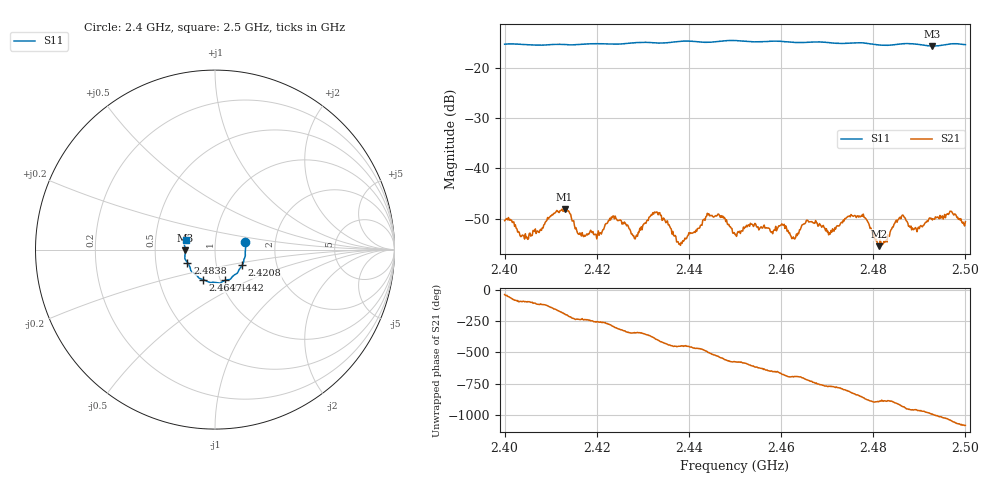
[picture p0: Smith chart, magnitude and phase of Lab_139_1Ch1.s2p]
# Hz S RI R 50
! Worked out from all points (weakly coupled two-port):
!   601 points, 2.4 GHz to 2.5 GHz, reference 50 ohm
!   highest |S21| = -48.08 dB at 2.413 GHz (marker M1); lowest = -55.5 dB at 2.4813 GHz (marker M2)
!   lowest |S11| = -15.6 dB at 2.4928 GHz (marker M3), VSWR 1.40, Z = 35.8 - j0.368 ohm
!   |S11| at or under -10 dB: start of sweep to end of sweep
!   S12 and S22 are empty: the file has one direction only
!   S11 on the Smith chart (normalised r, x): 2.4 GHz: 1.40, +0.12; 2.4208 GHz: 1.33, -0.24; 2.4442 GHz: 1.05, -0.37; 2.4647 GHz: 0.83, -0.29; 2.4838 GHz: 0.73, -0.11; 2.5 GHz: 0.72, +0.08
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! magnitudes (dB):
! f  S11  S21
! 2.4 GHz  -15.2  -50.4
! 2.4047 GHz  -15.3  -53.8
! 2.413 GHz  -15.3  -48.1
! 2.4167 GHz  -15.2  -53.5
! 2.4208 GHz  -15.1  -52.8
! 2.4237 GHz  -15.2  -49.5
! 2.4283 GHz  -14.9  -54.1
! 2.4333 GHz  -15.0  -49.2
! 2.438 GHz  -14.7  -55.1
! 2.4442 GHz  -14.9  -49.2
! 2.45 GHz  -14.5  -53.2
! 2.4647 GHz  -14.9  -51.2
! 2.4667 GHz  -14.8  -50.6
! 2.4705 GHz  -14.9  -52.8
! 2.4778 GHz  -15.0  -49.1
! 2.4813 GHz  -15.4  -55.5
! 2.4833 GHz  -15.5  -53.5
! 2.4838 GHz  -15.4  -52.3
! 2.4862 GHz  -15.2  -49.5
! 2.4892 GHz  -15.2  -51.8
! 2.4928 GHz  -15.6  -50.3
! 2.5 GHz  -15.3  -50.6
